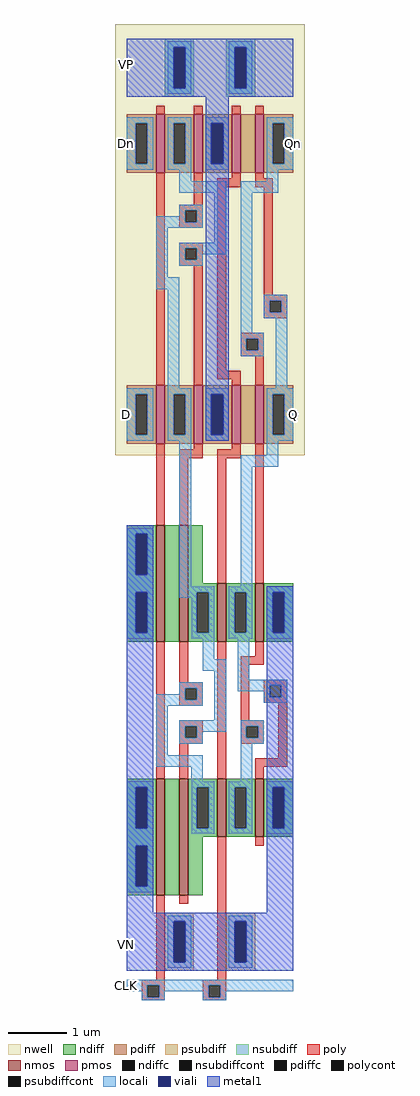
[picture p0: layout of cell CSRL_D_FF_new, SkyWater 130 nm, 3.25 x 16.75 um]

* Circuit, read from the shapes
.subckt CSRL_D_FF_new CLK D Dn Q Qn VN VP
XM1 n1 CLK VN VN sky130_fd_pr__nfet_01v8 w=2 l=0.15
XM2 n2 CLK VN VN sky130_fd_pr__nfet_01v8 w=2 l=0.15
XM3 n3 n4 n1 VN sky130_fd_pr__nfet_01v8 w=2 l=0.15
XM4 n4 n3 n2 VN sky130_fd_pr__nfet_01v8 w=2 l=0.15
XM5 Qn CLK n3 VN sky130_fd_pr__nfet_01v8 w=1 l=0.15
XM6 Q CLK n4 VN sky130_fd_pr__nfet_01v8 w=1 l=0.15
XM7 VN Q Qn VN sky130_fd_pr__nfet_01v8 w=1 l=0.15
XM8 VN Qn Q VN sky130_fd_pr__nfet_01v8 w=1 l=0.15
XM9 n4 CLK D VP sky130_fd_pr__pfet_01v8 w=1 l=0.15
XM10 n3 CLK Dn VP sky130_fd_pr__pfet_01v8 w=1 l=0.15
XM11 VP n3 n4 VP sky130_fd_pr__pfet_01v8 w=1 l=0.15
XM12 VP n4 n3 VP sky130_fd_pr__pfet_01v8 w=1 l=0.15
XM13 n5 CLK VP VP sky130_fd_pr__pfet_01v8 w=1 l=0.15
XM14 n6 CLK VP VP sky130_fd_pr__pfet_01v8 w=1 l=0.15
XM15 Q Qn n5 VP sky130_fd_pr__pfet_01v8 w=1 l=0.15
XM16 Qn Q n6 VP sky130_fd_pr__pfet_01v8 w=1 l=0.15
.ends

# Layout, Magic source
magic
tech sky130A
<< nwell >>
rect -70 640 255 1380
<< nmos >>
rect 0 320 15 520
rect 40 320 55 520
rect 105 320 120 420
rect 170 320 185 420
rect 0 -115 15 85
rect 40 -115 55 85
rect 105 -15 120 85
rect 170 -15 185 85
<< pmos >>
rect 0 1125 15 1225
rect 65 1125 80 1225
rect 130 1125 145 1225
rect 170 1125 185 1225
rect 0 660 15 760
rect 65 660 80 760
rect 130 660 145 760
rect 170 660 185 760
<< ndiff >>
rect -50 505 0 520
rect -50 435 -35 505
rect -15 435 0 505
rect -50 405 0 435
rect -50 335 -35 405
rect -15 335 0 405
rect -50 320 0 335
rect 15 320 40 520
rect 55 420 80 520
rect 55 405 105 420
rect 55 335 70 405
rect 90 335 105 405
rect 55 320 105 335
rect 120 405 170 420
rect 120 335 135 405
rect 155 335 170 405
rect 120 320 170 335
rect 185 405 235 420
rect 185 335 200 405
rect 220 335 235 405
rect 185 320 235 335
rect -50 70 0 85
rect -50 0 -35 70
rect -15 0 0 70
rect -50 -30 0 0
rect -50 -100 -35 -30
rect -15 -100 0 -30
rect -50 -115 0 -100
rect 15 -115 40 85
rect 55 70 105 85
rect 55 0 70 70
rect 90 0 105 70
rect 55 -15 105 0
rect 120 70 170 85
rect 120 0 135 70
rect 155 0 170 70
rect 120 -15 170 0
rect 185 70 235 85
rect 185 0 200 70
rect 220 0 235 70
rect 185 -15 235 0
rect 55 -115 80 -15
<< pdiff >>
rect -50 1210 0 1225
rect -50 1140 -35 1210
rect -15 1140 0 1210
rect -50 1125 0 1140
rect 15 1210 65 1225
rect 15 1140 30 1210
rect 50 1140 65 1210
rect 15 1125 65 1140
rect 80 1210 130 1225
rect 80 1140 95 1210
rect 115 1140 130 1210
rect 80 1125 130 1140
rect 145 1125 170 1225
rect 185 1210 235 1225
rect 185 1140 200 1210
rect 220 1140 235 1210
rect 185 1125 235 1140
rect -50 745 0 760
rect -50 675 -35 745
rect -15 675 0 745
rect -50 660 0 675
rect 15 745 65 760
rect 15 675 30 745
rect 50 675 65 745
rect 15 660 65 675
rect 80 745 130 760
rect 80 675 95 745
rect 115 675 130 745
rect 80 660 130 675
rect 145 660 170 760
rect 185 745 235 760
rect 185 675 200 745
rect 220 675 235 745
rect 185 660 235 675
<< ndiffc >>
rect -35 435 -15 505
rect -35 335 -15 405
rect 70 335 90 405
rect 135 335 155 405
rect 200 335 220 405
rect -35 0 -15 70
rect -35 -100 -15 -30
rect 70 0 90 70
rect 135 0 155 70
rect 200 0 220 70
<< pdiffc >>
rect -35 1140 -15 1210
rect 30 1140 50 1210
rect 95 1140 115 1210
rect 200 1140 220 1210
rect -35 675 -15 745
rect 30 675 50 745
rect 95 675 115 745
rect 200 675 220 745
<< psubdiff >>
rect 15 -160 65 -145
rect 15 -230 30 -160
rect 50 -230 65 -160
rect 15 -245 65 -230
rect 120 -160 170 -145
rect 120 -230 135 -160
rect 155 -230 170 -160
rect 120 -245 170 -230
<< nsubdiff >>
rect 15 1340 65 1355
rect 15 1270 30 1340
rect 50 1270 65 1340
rect 15 1255 65 1270
rect 120 1340 170 1355
rect 120 1270 135 1340
rect 155 1270 170 1340
rect 120 1255 170 1270
<< psubdiffcont >>
rect 30 -230 50 -160
rect 135 -230 155 -160
<< nsubdiffcont >>
rect 30 1270 50 1340
rect 135 1270 155 1340
<< poly >>
rect 0 1225 15 1240
rect 65 1225 80 1240
rect 130 1225 145 1240
rect 170 1225 185 1240
rect 0 760 15 1125
rect 65 1070 80 1125
rect 130 1115 145 1125
rect 40 1060 80 1070
rect 40 1040 50 1060
rect 70 1040 80 1060
rect 40 1030 80 1040
rect 105 1100 145 1115
rect 170 1115 185 1125
rect 170 1100 200 1115
rect 40 995 80 1005
rect 40 975 50 995
rect 70 975 80 995
rect 40 965 80 975
rect 65 760 80 965
rect 105 785 120 1100
rect 185 915 200 1100
rect 185 905 225 915
rect 185 885 195 905
rect 215 885 225 905
rect 185 875 225 885
rect 145 840 185 850
rect 145 820 155 840
rect 175 820 185 840
rect 145 810 185 820
rect 105 770 145 785
rect 130 760 145 770
rect 170 760 185 810
rect 0 520 15 660
rect 65 650 80 660
rect 130 650 145 660
rect 40 635 80 650
rect 105 635 145 650
rect 40 520 55 635
rect 105 420 120 635
rect 170 420 185 660
rect 0 85 15 320
rect 40 250 55 320
rect 40 240 80 250
rect 40 220 50 240
rect 70 220 80 240
rect 40 210 80 220
rect 40 175 80 185
rect 40 155 50 175
rect 70 155 80 175
rect 40 145 80 155
rect 40 85 55 145
rect 105 85 120 320
rect 170 295 185 320
rect 145 280 185 295
rect 145 185 160 280
rect 185 245 225 255
rect 185 225 195 245
rect 215 225 225 245
rect 185 215 225 225
rect 145 175 185 185
rect 145 155 155 175
rect 175 155 185 175
rect 145 145 185 155
rect 210 120 225 215
rect 170 105 225 120
rect 170 85 185 105
rect 0 -260 15 -115
rect 40 -130 55 -115
rect 105 -260 120 -15
rect 170 -30 185 -15
rect -25 -270 15 -260
rect -25 -290 -15 -270
rect 5 -290 15 -270
rect -25 -295 15 -290
rect 80 -270 120 -260
rect 80 -290 90 -270
rect 110 -290 120 -270
rect 80 -295 120 -290
<< polycont >>
rect 50 1040 70 1060
rect 50 975 70 995
rect 195 885 215 905
rect 155 820 175 840
rect 50 220 70 240
rect 50 155 70 175
rect 195 225 215 245
rect 155 155 175 175
rect -15 -290 5 -270
rect 90 -290 110 -270
<< locali >>
rect 20 1340 60 1350
rect 20 1270 30 1340
rect 50 1270 60 1340
rect 20 1260 60 1270
rect 125 1340 165 1350
rect 125 1270 135 1340
rect 155 1270 165 1340
rect 125 1260 165 1270
rect -50 1210 -5 1220
rect -50 1140 -35 1210
rect -15 1140 -5 1210
rect -50 1130 -5 1140
rect 20 1210 60 1220
rect 20 1140 30 1210
rect 50 1140 60 1210
rect 20 1130 60 1140
rect 85 1210 125 1220
rect 85 1140 95 1210
rect 115 1140 125 1210
rect 85 1130 125 1140
rect 190 1210 235 1220
rect 190 1140 200 1210
rect 220 1140 235 1210
rect 190 1130 235 1140
rect 40 1110 60 1130
rect 190 1110 210 1130
rect 40 1090 120 1110
rect 40 1060 80 1070
rect 40 1050 50 1060
rect 0 1040 50 1050
rect 70 1040 80 1060
rect 0 1030 80 1040
rect 0 945 20 1030
rect 100 1005 120 1090
rect 40 995 120 1005
rect 40 975 50 995
rect 70 985 120 995
rect 145 1090 210 1110
rect 70 975 80 985
rect 40 965 80 975
rect 0 925 40 945
rect 20 755 40 925
rect 145 850 165 1090
rect 185 905 225 915
rect 185 885 195 905
rect 215 885 225 905
rect 185 875 225 885
rect 145 840 185 850
rect 145 820 155 840
rect 175 820 185 840
rect 145 810 185 820
rect 205 755 225 875
rect -50 745 -5 755
rect -50 675 -35 745
rect -15 675 -5 745
rect -50 665 -5 675
rect 20 745 60 755
rect 20 675 30 745
rect 50 675 60 745
rect 20 665 60 675
rect 85 745 125 755
rect 85 675 95 745
rect 115 675 125 745
rect 85 665 125 675
rect 190 745 235 755
rect 190 675 200 745
rect 220 675 235 745
rect 190 665 235 675
rect -50 505 -5 515
rect -50 435 -35 505
rect -15 435 -5 505
rect -50 405 -5 435
rect -50 335 -35 405
rect -15 335 -5 405
rect 40 415 60 665
rect 190 640 210 665
rect 145 620 210 640
rect 145 415 165 620
rect 40 405 100 415
rect 40 395 70 405
rect -50 325 -5 335
rect 60 335 70 395
rect 90 335 100 405
rect 60 325 100 335
rect 125 405 165 415
rect 125 335 135 405
rect 155 335 165 405
rect 125 325 165 335
rect 190 405 235 415
rect 190 335 200 405
rect 220 335 235 405
rect 190 325 235 335
rect 80 290 100 325
rect 80 270 120 290
rect 40 240 80 250
rect 40 230 50 240
rect 0 220 50 230
rect 70 220 80 240
rect 0 210 80 220
rect 0 125 20 210
rect 100 185 120 270
rect 140 255 160 325
rect 140 245 225 255
rect 140 235 195 245
rect 185 225 195 235
rect 215 225 225 245
rect 185 215 225 225
rect 40 175 120 185
rect 40 155 50 175
rect 70 165 120 175
rect 145 175 185 185
rect 70 155 80 165
rect 40 145 80 155
rect 145 155 155 175
rect 175 155 185 175
rect 145 145 185 155
rect 0 105 80 125
rect 60 80 80 105
rect 145 80 165 145
rect -50 70 -5 80
rect -50 0 -35 70
rect -15 0 -5 70
rect -50 -30 -5 0
rect 60 70 100 80
rect 60 0 70 70
rect 90 0 100 70
rect 60 -10 100 0
rect 125 70 165 80
rect 125 0 135 70
rect 155 0 165 70
rect 125 -10 165 0
rect 190 70 235 80
rect 190 0 200 70
rect 220 0 235 70
rect 190 -10 235 0
rect -50 -100 -35 -30
rect -15 -100 -5 -30
rect -50 -110 -5 -100
rect 20 -160 60 -150
rect 20 -230 30 -160
rect 50 -230 60 -160
rect 20 -240 60 -230
rect 125 -160 165 -150
rect 125 -230 135 -160
rect 155 -230 165 -160
rect 125 -240 165 -230
rect -50 -270 235 -260
rect -50 -280 -15 -270
rect -25 -290 -15 -280
rect 5 -280 90 -270
rect 5 -290 15 -280
rect -25 -295 15 -290
rect 80 -290 90 -280
rect 110 -280 235 -270
rect 110 -290 120 -280
rect 80 -295 120 -290
<< viali >>
rect 30 1270 50 1340
rect 135 1270 155 1340
rect 95 1140 115 1210
rect 95 675 115 745
rect -35 435 -15 505
rect -35 335 -15 405
rect 200 335 220 405
rect -35 0 -15 70
rect 200 0 220 70
rect -35 -100 -15 -30
rect 30 -230 50 -160
rect 135 -230 155 -160
<< metal1 >>
rect -50 1340 235 1355
rect -50 1270 30 1340
rect 50 1270 135 1340
rect 155 1270 235 1340
rect -50 1255 235 1270
rect 85 1210 125 1255
rect 85 1140 95 1210
rect 115 1140 125 1210
rect 85 745 125 1140
rect 85 675 95 745
rect 115 675 125 745
rect 85 665 125 675
rect -50 505 -5 520
rect -50 435 -35 505
rect -15 435 -5 505
rect -50 405 -5 435
rect -50 335 -35 405
rect -15 335 -5 405
rect -50 70 -5 335
rect -50 0 -35 70
rect -15 0 -5 70
rect -50 -30 -5 0
rect -50 -100 -35 -30
rect -15 -100 -5 -30
rect -50 -145 -5 -100
rect 190 405 235 415
rect 190 335 200 405
rect 220 335 235 405
rect 190 70 235 335
rect 190 0 200 70
rect 220 0 235 70
rect 190 -145 235 0
rect -50 -160 235 -145
rect -50 -230 30 -160
rect 50 -230 135 -160
rect 155 -230 235 -160
rect -50 -245 235 -230
<< labels >>
rlabel locali 235 710 235 710 3 Q
rlabel locali -50 710 -50 710 7 D
rlabel metal1 -50 -200 -50 -200 7 VN
rlabel locali -50 -270 -50 -270 7 CLK
rlabel locali 235 1175 235 1175 3 Qn
rlabel locali -50 1175 -50 1175 7 Dn
rlabel metal1 -50 1310 -50 1310 7 VP
<< end >>
